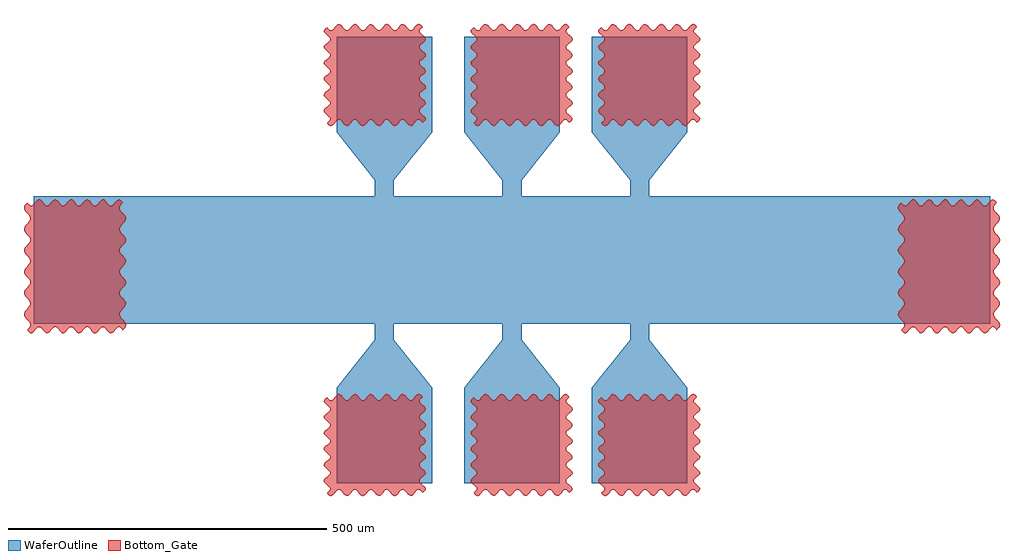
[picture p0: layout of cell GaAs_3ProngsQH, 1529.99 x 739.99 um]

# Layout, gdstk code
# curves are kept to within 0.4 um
import gdstk
lib = gdstk.Library(unit=1e-6, precision=1e-09)
def R(c, l, rs):  # rectangles x0, y0, x1, y1
    for r in rs: c.add(gdstk.rectangle(r[:2], r[2:], *l))
def P(c, l, *ps):  # polygons
    for p in ps: c.add(gdstk.Polygon(p, *l))
WaferOutline = (1, 0)
Bottom_Gate = (2, 0)

lowerhallbarcontact_1_1 = lib.new_cell('LowerHallbarContact$1$1')
R(lowerhallbarcontact_1_1, WaferOutline, [(-75,-75,75,75)])
P(lowerhallbarcontact_1_1, WaferOutline, [(-75,75),(-15,150),(-15,75)],
  [(15,75),(15,150),(75,75)])
lowerhallbarcontact_1_1.add(gdstk.FlexPath([(0,75),(0,175)], 30, ends="flush", simple_path=True, layer=1, datatype=0))  # WaferOutline

experimentalohmics_2_1 = lib.new_cell('ExperimentalOhmics$2$1')
P(experimentalohmics_2_1, Bottom_Gate, [(-68.939,-79.994),(-71.97,-78.45),(-75,-75),(-70.452,-70.455),(-70.275,-67.424),(-72.709,-64.394),(-78.091,-59.848),(-79.949,-56.818),(-79.073,-53.788),(-70.927,-46.212),(-70.051,-43.182),(-71.909,-40.152),(-78.779,-34.091),(-79.994,-31.061),(-78.45,-28.03),(-71.55,-21.97),(-70.006,-18.939),(-71.221,-15.909),(-78.091,-9.848),(-79.949,-6.818),(-79.073,-3.788),(-70.927,3.788),(-70.051,6.818),(-71.909,9.848),(-78.779,15.909),(-79.994,18.939),(-78.45,21.97),(-71.55,28.03),(-70.006,31.061),(-71.221,34.091),(-78.091,40.152),(-79.949,43.182),(-79.073,46.212),(-70.927,53.788),(-70.051,56.818),(-71.909,59.848),(-77.291,64.394),(-79.725,67.424),(-79.994,68.939),(-78.45,71.97),(-75,75),(-70.455,70.452),(-67.424,70.275),(-64.394,72.709),(-59.848,78.091),(-56.818,79.949),(-53.788,79.073),(-46.212,70.927),(-43.182,70.051),(-40.152,71.909),(-34.091,78.779),(-31.061,79.994),(-28.03,78.45),(-21.97,71.55),(-18.939,70.006),(-15.909,71.221),(-9.848,78.091),(-6.818,79.949),(-3.788,79.073),(3.788,70.927),(6.818,70.051),(9.848,71.909),(15.909,78.779),(18.939,79.994),(21.97,78.45),(28.03,71.55),(31.061,70.006),(34.091,71.221),(40.152,78.091),(43.182,79.949),(46.212,79.073),(53.788,70.927),(56.818,70.051),(59.848,71.909),(64.394,77.291),(67.424,79.725),(68.939,79.994),(71.97,78.45),(75,75),(70.452,70.455),(70.275,67.424),(72.709,64.394),(78.091,59.848),(79.949,56.818),(79.073,53.788),(70.927,46.212),(70.051,43.182),(71.909,40.152),(78.779,34.091),(79.994,31.061),(78.45,28.03),(71.55,21.97),(70.006,18.939),(71.221,15.909),(78.091,9.848),(79.949,6.818),(79.073,3.788),(70.927,-3.788),(70.051,-6.818),(71.909,-9.848),(78.779,-15.909),(79.994,-18.939),(78.45,-21.97),(71.55,-28.03),(70.006,-31.061),(71.221,-34.091),(78.091,-40.152),(79.949,-43.182),(79.073,-46.212),(70.927,-53.788),(70.051,-56.818),(71.909,-59.848),(77.291,-64.394),(79.725,-67.424),(79.994,-68.939),(78.45,-71.97),(75,-75),(70.455,-70.452),(67.424,-70.275),(64.394,-72.709),(59.848,-78.091),(56.818,-79.949),(53.788,-79.073),(46.212,-70.927),(43.182,-70.051),(40.152,-71.909),(34.091,-78.779),(31.061,-79.994),(28.03,-78.45),(21.97,-71.55),(18.939,-70.006),(15.909,-71.221),(9.848,-78.091),(6.818,-79.949),(3.788,-79.073),(-3.788,-70.927),(-6.818,-70.051),(-9.848,-71.909),(-15.909,-78.779),(-18.939,-79.994),(-21.97,-78.45),(-28.03,-71.55),(-31.061,-70.006),(-34.091,-71.221),(-40.152,-78.091),(-43.182,-79.949),(-46.212,-79.073),(-53.788,-70.927),(-56.818,-70.051),(-59.848,-71.909),(-65.909,-78.779)])

upperhallbarcontact_1_1 = lib.new_cell('UpperHallbarContact$1$1')
R(upperhallbarcontact_1_1, WaferOutline, [(-75,-75,75,75)])
P(upperhallbarcontact_1_1, WaferOutline, [(-15,-150),(-75,-75),(-15,-75)],
  [(15,-150),(15,-75),(75,-75)])
upperhallbarcontact_1_1.add(gdstk.FlexPath([(0,-75),(0,-175)], 30, ends="flush", simple_path=True, layer=1, datatype=0))  # WaferOutline

leftrightcontacts_1_1 = lib.new_cell('LeftRightContacts$1$1')
R(leftrightcontacts_1_1, WaferOutline, [(-75,-100,75,100)])

experimentalohmics_3 = lib.new_cell('ExperimentalOhmics$3')
P(experimentalohmics_3, Bottom_Gate, [(-68.939,-104.994),(-71.97,-103.45),(-75,-100),(-70.452,-93.939),(-70.275,-89.899),(-72.709,-85.859),(-78.091,-79.798),(-79.949,-75.758),(-79.073,-71.717),(-70.927,-61.616),(-70.051,-57.576),(-71.909,-53.535),(-78.779,-45.455),(-79.994,-41.414),(-78.45,-37.374),(-71.55,-29.293),(-70.006,-25.253),(-71.221,-21.212),(-78.091,-13.131),(-79.949,-9.091),(-79.073,-5.051),(-70.927,5.051),(-70.051,9.091),(-71.909,13.131),(-78.779,21.212),(-79.994,25.253),(-78.45,29.293),(-71.55,37.374),(-70.006,41.414),(-71.221,45.455),(-78.091,53.535),(-79.949,57.576),(-79.073,61.616),(-70.927,71.717),(-70.051,75.758),(-71.909,79.798),(-77.291,85.859),(-79.725,89.899),(-79.994,91.919),(-78.45,95.96),(-75,100),(-70.455,95.452),(-67.424,95.275),(-64.394,97.709),(-59.848,103.091),(-56.818,104.949),(-53.788,104.073),(-46.212,95.927),(-43.182,95.051),(-40.152,96.909),(-34.091,103.779),(-31.061,104.994),(-28.03,103.45),(-21.97,96.55),(-18.939,95.006),(-15.909,96.221),(-9.848,103.091),(-6.818,104.949),(-3.788,104.073),(3.788,95.927),(6.818,95.051),(9.848,96.909),(15.909,103.779),(18.939,104.994),(21.97,103.45),(28.03,96.55),(31.061,95.006),(34.091,96.221),(40.152,103.091),(43.182,104.949),(46.212,104.073),(53.788,95.927),(56.818,95.051),(59.848,96.909),(65.909,103.779),(68.939,104.994),(70.455,104.548),(75,100),(70.452,93.939),(70.275,89.899),(72.709,85.859),(78.091,79.798),(79.949,75.758),(79.073,71.717),(70.927,61.616),(70.051,57.576),(71.909,53.535),(78.779,45.455),(79.994,41.414),(78.45,37.374),(71.55,29.293),(70.006,25.253),(71.221,21.212),(78.091,13.131),(79.949,9.091),(79.073,5.051),(70.927,-5.051),(70.051,-9.091),(71.909,-13.131),(78.779,-21.212),(79.994,-25.253),(78.45,-29.293),(71.55,-37.374),(70.006,-41.414),(71.221,-45.455),(78.091,-53.535),(79.949,-57.576),(79.073,-61.616),(70.927,-71.717),(70.051,-75.758),(71.909,-79.798),(77.291,-85.859),(79.725,-89.899),(79.994,-91.919),(78.45,-95.96),(75,-100),(70.455,-95.452),(67.424,-95.275),(64.394,-97.709),(59.848,-103.091),(56.818,-104.949),(53.788,-104.073),(46.212,-95.927),(43.182,-95.051),(40.152,-96.909),(34.091,-103.779),(31.061,-104.994),(28.03,-103.45),(21.97,-96.55),(18.939,-95.006),(15.909,-96.221),(9.848,-103.091),(6.818,-104.949),(3.788,-104.073),(-3.788,-95.927),(-6.818,-95.051),(-9.848,-96.909),(-15.909,-103.779),(-18.939,-104.994),(-21.97,-103.45),(-28.03,-96.55),(-31.061,-95.006),(-34.091,-96.221),(-40.152,-103.091),(-43.182,-104.949),(-46.212,-104.073),(-53.788,-95.927),(-56.818,-95.051),(-59.848,-96.909),(-65.909,-103.779)])

hallbarsquare_1_1 = lib.new_cell('HallbarSquare$1$1')
R(hallbarsquare_1_1, WaferOutline, [(-600,-100,600,100)])

gaas_3prongsqh = lib.new_cell('GaAs_3ProngsQH')
r = gdstk.Reference(lowerhallbarcontact_1_1, (-200,-275)); r.repetition = gdstk.Repetition(3, 1, v1=(200,0), v2=(0,0)); gaas_3prongsqh.add(r)
gaas_3prongsqh.add(gdstk.Reference(experimentalohmics_2_1, (15,-290)))
r = gdstk.Reference(upperhallbarcontact_1_1, (-200,275)); r.repetition = gdstk.Repetition(3, 1, v1=(200,0), v2=(0,0)); gaas_3prongsqh.add(r)
r = gdstk.Reference(leftrightcontacts_1_1, (-675,0)); r.repetition = gdstk.Repetition(2, 1, v1=(1350,0), v2=(0,0)); gaas_3prongsqh.add(r)
r = gdstk.Reference(experimentalohmics_3, (-685,-10)); r.repetition = gdstk.Repetition(2, 1, v1=(1370,0), v2=(0,0)); gaas_3prongsqh.add(r)
gaas_3prongsqh.add(gdstk.Reference(hallbarsquare_1_1, (0,0)))
gaas_3prongsqh.add(gdstk.Reference(experimentalohmics_2_1, (-215,-290)))
gaas_3prongsqh.add(gdstk.Reference(experimentalohmics_2_1, (-215,290)))
gaas_3prongsqh.add(gdstk.Reference(experimentalohmics_2_1, (15,290)))
gaas_3prongsqh.add(gdstk.Reference(experimentalohmics_2_1, (215,-290)))
gaas_3prongsqh.add(gdstk.Reference(experimentalohmics_2_1, (215,290)))

lib.write_gds('GaAs_3ProngsQH.gds')
